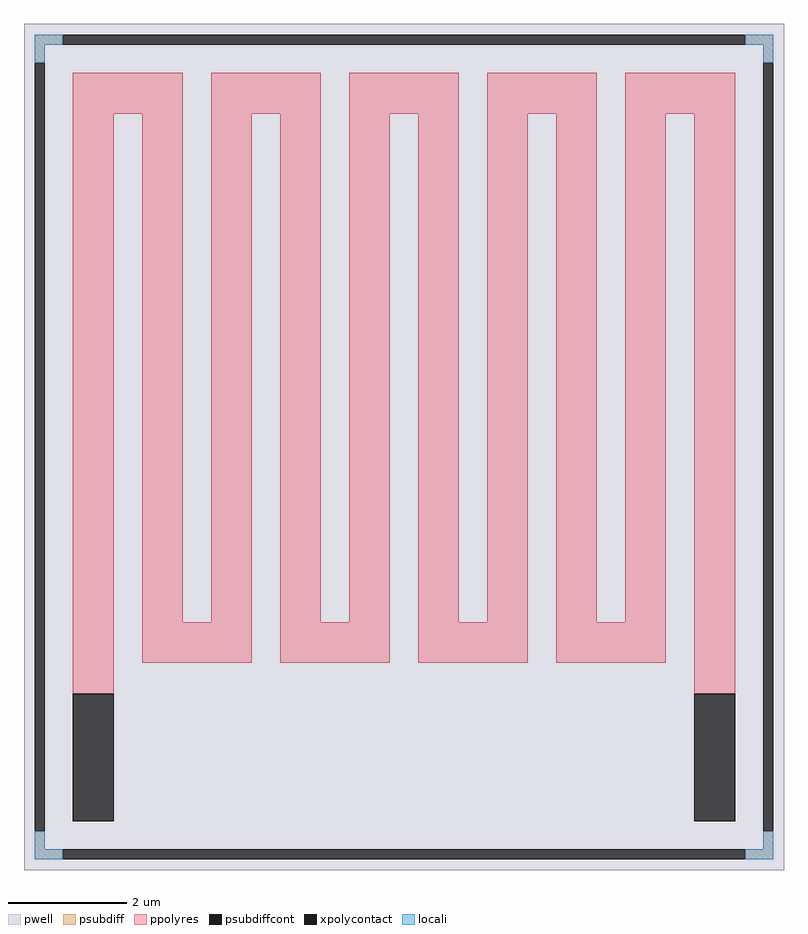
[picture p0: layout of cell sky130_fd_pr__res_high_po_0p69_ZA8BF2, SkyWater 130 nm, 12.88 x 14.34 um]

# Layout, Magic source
magic
tech sky130A
<< pwell >>
rect -644 -717 644 717
<< psubdiff >>
rect -626 682 -578 699
rect 578 682 626 699
rect -626 651 -609 682
rect 609 651 626 682
rect -626 -682 -609 -651
rect 609 -682 626 -651
rect -626 -699 -578 -682
rect 578 -699 626 -682
<< psubdiffcont >>
rect -578 682 578 699
rect -626 -651 -609 651
rect 609 -651 626 651
rect -578 -699 578 -682
<< xpolycontact >>
rect -561 -634 -492 -418
rect 492 -634 561 -418
<< ppolyres >>
rect -561 565 -375 634
rect -561 -418 -492 565
rect -444 -297 -375 565
rect -327 565 -141 634
rect -327 -297 -258 565
rect -444 -366 -258 -297
rect -210 -297 -141 565
rect -93 565 93 634
rect -93 -297 -24 565
rect -210 -366 -24 -297
rect 24 -297 93 565
rect 141 565 327 634
rect 141 -297 210 565
rect 24 -366 210 -297
rect 258 -297 327 565
rect 375 565 561 634
rect 375 -297 444 565
rect 258 -366 444 -297
rect 492 -418 561 565
<< locali >>
rect -626 682 -578 699
rect 578 682 626 699
rect -626 651 -609 682
rect 609 651 626 682
rect -626 -682 -609 -651
rect 609 -682 626 -651
rect -626 -699 -578 -682
rect 578 -699 626 -682
<< properties >>
string FIXED_BBOX -617 -690 617 690
string gencell sky130_fd_pr__res_high_po_0p69
string library sky130
string parameters w 0.69 l 10 m 1 nx 10 wmin 0.690 lmin 0.50 rho 319.8 val 49.79k dummy 0 dw 0.0 term 194.82 sterm 0.0 caplen 0 guard 1 glc 1 grc 1 gtc 1 gbc 1 compatible {sky130_fd_pr__res_high_po_0p35  sky130_fd_pr__res_high_po_0p69 sky130_fd_pr__res_high_po_1p41  sky130_fd_pr__res_high_po_2p85 sky130_fd_pr__res_high_po_5p73} snake 1 full_metal 1 wmax 0.690 n_guard 0 hv_guard 0 vias 1 viagb 0 viagt 0 viagl 0 viagr 0
<< end >>
